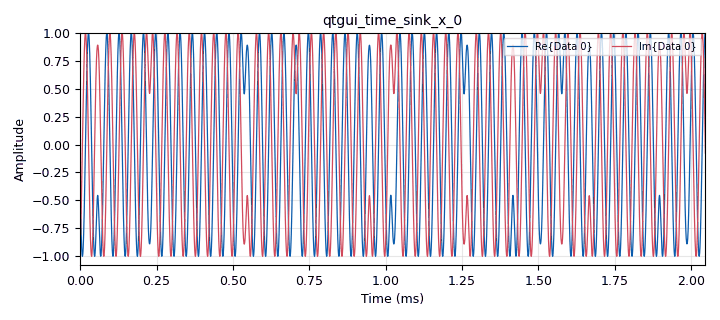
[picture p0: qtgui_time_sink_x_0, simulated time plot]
options:
  parameters:
    author: mike
    generate_options: qt_gui
    id: gfsktest
    output_language: python
    title: Not titled yet
  states: {}

blocks:
- name: samp_rate
  id: variable
  parameters:
    value: int(2e6)
  states: {}
- name: analog_quadrature_demod_cf_0
  id: analog_quadrature_demod_cf
  parameters:
    gain: '1'
  states: {state: disabled}
- name: analog_random_uniform_source_x_0
  id: analog_random_uniform_source_x
  parameters:
    maximum: '2'
    minimum: '-1'
    seed: '0'
    type: byte
  states: {}
- name: blocks_throttle_0
  id: blocks_throttle
  parameters:
    samples_per_second: samp_rate
    type: complex
  states: {}
- name: cxxrtl_sim_0
  id: cxxrtl_sim
  parameters: {}
  states: {}
- name: digital_gmsk_mod_0
  id: digital_gmsk_mod
  parameters:
    bt: '0.35'
    samples_per_symbol: '20'
  states: {}
- name: qtgui_time_sink_x_0
  id: qtgui_time_sink_x
  parameters:
    size: '4096'
    srate: samp_rate
    type: complex
  states: {}
- name: qtgui_time_sink_x_0_0
  id: qtgui_time_sink_x
  parameters:
    size: '4096'
    srate: samp_rate
    type: float
  states: {}

connections:
- [analog_quadrature_demod_cf_0, '0', qtgui_time_sink_x_0_0, '0']
- [analog_random_uniform_source_x_0, '0', digital_gmsk_mod_0, '0']
- [blocks_throttle_0, '0', qtgui_time_sink_x_0, '0']
- [cxxrtl_sim_0, '0', qtgui_time_sink_x_0_0, '0']
- [digital_gmsk_mod_0, '0', analog_quadrature_demod_cf_0, '0']
- [digital_gmsk_mod_0, '0', blocks_throttle_0, '0']
- [digital_gmsk_mod_0, '0', cxxrtl_sim_0, '0']

metadata:
  file_format: 1
